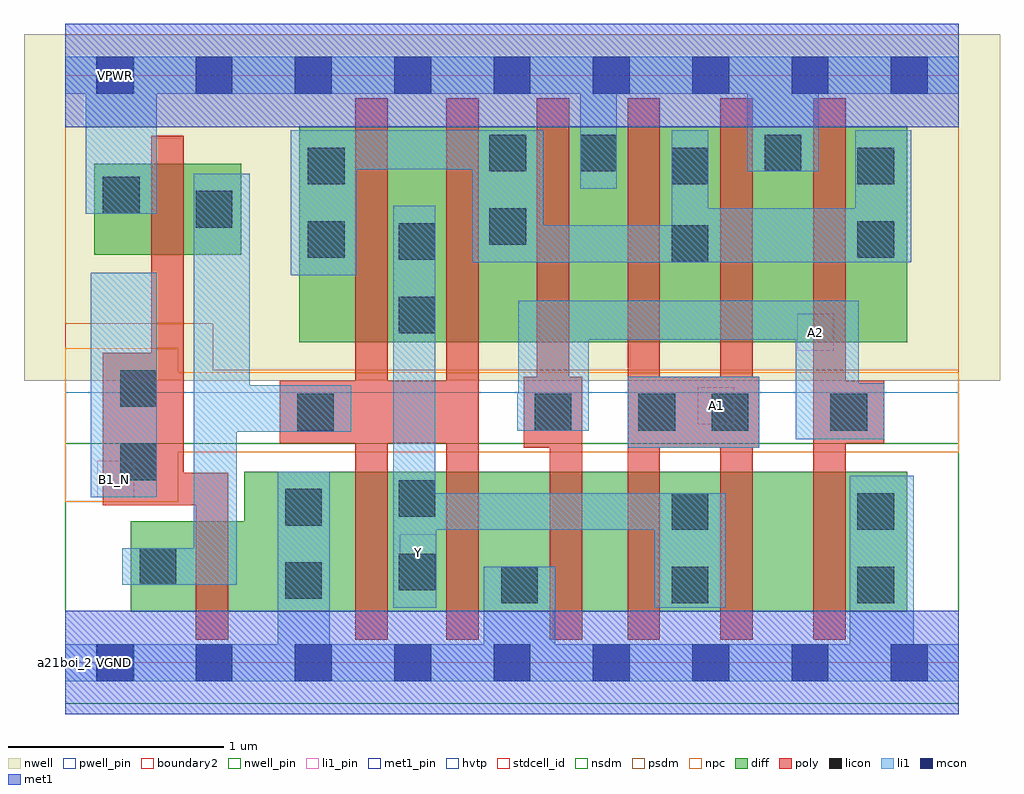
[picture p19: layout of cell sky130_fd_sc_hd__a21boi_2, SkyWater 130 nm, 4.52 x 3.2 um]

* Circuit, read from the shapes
.subckt sky130_fd_sc_hd__a21boi_2 A1 A2 B1_N VGND VNB VPB VPWR Y
XM1 VGND B1_N n1 VNB sky130_fd_pr__nfet_01v8 w=0.42 l=0.15
XM2 Y n1 VGND VNB sky130_fd_pr__nfet_01v8 w=0.65 l=0.15 m=2
XM3 n2 A2 VGND VNB sky130_fd_pr__nfet_01v8 w=0.65 l=0.15
XM4 Y A1 n2 VNB sky130_fd_pr__nfet_01v8 w=0.65 l=0.15
XM5 n3 A1 Y VNB sky130_fd_pr__nfet_01v8 w=0.65 l=0.15
XM6 VGND A2 n3 VNB sky130_fd_pr__nfet_01v8 w=0.65 l=0.15
XM7 n1 B1_N VPWR VPB sky130_fd_pr__pfet_01v8_hvt w=0.42 l=0.15
XM8 Y n1 n4 VPB sky130_fd_pr__pfet_01v8_hvt w=1 l=0.15 m=2
XM9 VPWR A2 n4 VPB sky130_fd_pr__pfet_01v8_hvt w=1 l=0.15 m=2
XM10 n4 A1 VPWR VPB sky130_fd_pr__pfet_01v8_hvt w=1 l=0.15 m=2
.ends

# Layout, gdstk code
import gdstk
lib = gdstk.Library(unit=1e-6, precision=1e-09)
def R(c, l, rs):  # rectangles x0, y0, x1, y1
    for r in rs: c.add(gdstk.rectangle(r[:2], r[2:], *l))
def A(c, l, x, y, w, h, nx, ny, dx, dy):  # array of equal rectangles
    R(c, l, [(x+i*dx, y+j*dy, x+i*dx+w, y+j*dy+h) for i in range(nx) for j in range(ny)])
def P(c, l, *ps):  # polygons
    for p in ps: c.add(gdstk.Polygon(p, *l))
nwell_pin = (64, 16)
nwell = (64, 20)
diff = (65, 20)
poly = (66, 20)
licon = (66, 44)
li1_pin = (67, 16)
li1 = (67, 20)
mcon = (67, 44)
met1_pin = (68, 16)
met1 = (68, 20)
hvtp = (78, 44)
stdcell_id = (81, 4)
nsdm = (93, 44)
psdm = (94, 20)
npc = (95, 20)
pwell_pin = (122, 16)
boundary2 = (236, 0)

sky130_fd_sc_hd__a21boi_ = lib.new_cell('sky130_fd_sc_hd__a21boi_2')
R(sky130_fd_sc_hd__a21boi_, nwell_pin, [(0.15,2.635,0.32,2.805)])
R(sky130_fd_sc_hd__a21boi_, nwell, [(-0.19,1.305,4.33,2.91)])
R(sky130_fd_sc_hd__a21boi_, diff, [(1.085,1.485,3.9,2.485), (0.135,1.89,0.815,2.31)])
P(sky130_fd_sc_hd__a21boi_, diff, [(3.9,0.885),(0.83,0.885),(0.83,0.655),(0.305,0.655),(0.305,0.235),(3.9,0.235)])
P(sky130_fd_sc_hd__a21boi_, poly, [(3.795,1.305),(3.615,1.305),(3.615,2.615),(3.465,2.615),(3.465,0.105),(3.615,0.105),(3.615,1.015),(3.795,1.015)],
  [(3.215,1.325),(3.185,1.325),(3.185,2.615),(3.035,2.615),(3.035,1.325),(2.755,1.325),(2.755,2.615),(2.605,2.615),(2.605,0.105),(2.755,0.105),(2.755,0.995),(3.035,0.995),(3.035,0.105),(3.185,0.105),(3.185,0.995),(3.215,0.995)],
  [(2.395,1.325),(2.335,1.325),(2.335,2.615),(2.185,2.615),(2.185,1.325),(2.125,1.325),(2.125,0.995),(2.245,0.995),(2.245,0.105),(2.395,0.105)],
  [(1.915,2.615),(1.765,2.615),(1.765,1.305),(1.495,1.305),(1.495,2.615),(1.345,2.615),(1.345,1.305),(0.995,1.305),(0.995,1.015),(1.345,1.015),(1.345,0.105),(1.495,0.105),(1.495,1.015),(1.765,1.015),(1.765,0.105),(1.915,0.105)],
  [(0.755,0.88),(0.55,0.88),(0.55,2.44),(0.4,2.44),(0.4,1.435),(0.175,1.435),(0.175,0.73),(0.605,0.73),(0.605,0.105),(0.755,0.105)])
R(sky130_fd_sc_hd__a21boi_, licon, [(2.02,0.275,2.19,0.445), (2.81,0.275,2.98,0.445), (3.67,0.275,3.84,0.445), (1.02,0.295,1.19,0.465), (1.545,0.335,1.715,0.505), (0.345,0.36,0.515,0.53), (2.81,0.615,2.98,0.785), (3.67,0.615,3.84,0.785), (1.02,0.635,1.19,0.805), (1.545,0.675,1.715,0.845), (0.255,0.845,0.425,1.015), (1.075,1.075,1.245,1.245), (2.175,1.075,2.345,1.245), (2.655,1.075,2.825,1.245), (2.995,1.075,3.165,1.245), (3.545,1.075,3.715,1.245), (0.255,1.185,0.425,1.355), (1.545,1.525,1.715,1.695), (2.81,1.855,2.98,2.025), (1.545,1.865,1.715,2.035), (1.125,1.875,1.295,2.045), (3.67,1.875,3.84,2.045), (1.965,1.935,2.135,2.105), (0.605,2.015,0.775,2.185), (0.175,2.08,0.345,2.25), (1.125,2.215,1.295,2.385), (2.81,2.215,2.98,2.385), (3.67,2.215,3.84,2.385), (1.965,2.275,2.135,2.445), (2.385,2.275,2.555,2.445), (3.24,2.275,3.41,2.445)])
R(sky130_fd_sc_hd__a21boi_, li1_pin, [(1.55,0.425,1.72,0.595), (0.15,0.765,0.32,0.935), (2.93,1.105,3.1,1.275), (3.39,1.445,3.56,1.615)])
R(sky130_fd_sc_hd__a21boi_, li1, [(0.12,0.765,0.425,1.805), (2.605,0.995,3.215,1.325)])
P(sky130_fd_sc_hd__a21boi_, li1, [(3.92,2.465),(3.66,2.465),(3.66,2.105),(2.98,2.105),(2.98,2.465),(2.81,2.465),(2.81,2.025),(2.215,2.025),(2.215,2.465),(1.045,2.465),(1.045,1.795),(1.35,1.795),(1.35,2.285),(1.885,2.285),(1.885,1.855),(3.92,1.855)],
  [(3.795,1.295),(3.675,1.295),(3.675,1.675),(2.1,1.675),(2.1,1.245),(2.095,1.245),(2.095,1.075),(2.425,1.075),(2.425,1.495),(3.385,1.495),(3.385,1.035),(3.795,1.035)],
  [(3.06,0.785),(1.715,0.785),(1.715,2.115),(1.52,2.115),(1.52,0.255),(1.72,0.255),(1.72,0.615),(2.73,0.615),(2.73,0.255),(3.06,0.255)],
  [(4.14,2.805),(0,2.805),(0,2.635),(0.095,2.635),(0.095,2.08),(0.425,2.08),(0.425,2.635),(2.385,2.635),(2.385,2.195),(2.555,2.195),(2.555,2.635),(3.16,2.635),(3.16,2.275),(3.49,2.275),(3.49,2.635),(4.14,2.635)],
  [(4.14,0.085),(3.93,0.085),(3.93,0.865),(3.635,0.865),(3.635,0.085),(2.27,0.085),(2.27,0.445),(1.94,0.445),(1.94,0.085),(1.225,0.085),(1.225,0.885),(0.985,0.885),(0.985,0.085),(0,0.085),(0,-0.085),(4.14,-0.085)],
  [(1.325,1.285),(0.855,1.285),(0.855,2.265),(0.595,2.265),(0.595,0.53),(0.265,0.53),(0.265,0.36),(0.795,0.36),(0.795,1.07),(1.325,1.07)])
A(sky130_fd_sc_hd__a21boi_, mcon, 0.145, -0.085, 0.17, 0.17, 9, 2, 0.46, 2.72)
R(sky130_fd_sc_hd__a21boi_, met1_pin, [(0.15,-0.085,0.32,0.085), (0.15,2.635,0.32,2.805)])
R(sky130_fd_sc_hd__a21boi_, hvtp, [(0,1.25,4.14,2.72)])
R(sky130_fd_sc_hd__a21boi_, stdcell_id, [(0,0,4.14,2.72)])
R(sky130_fd_sc_hd__a21boi_, nsdm, [(0,-0.19,4.14,1.015)])
P(sky130_fd_sc_hd__a21boi_, psdm, [(4.14,2.91),(0,2.91),(0,1.57),(0.685,1.57),(0.685,1.355),(4.14,1.355)])
P(sky130_fd_sc_hd__a21boi_, npc, [(4.14,1.345),(0.525,1.345),(0.525,1.455),(0,1.455),(0,0.745),(0.525,0.745),(0.525,0.975),(4.14,0.975)])
R(sky130_fd_sc_hd__a21boi_, pwell_pin, [(0.15,-0.085,0.32,0.085)])
R(sky130_fd_sc_hd__a21boi_, boundary2, [(0,0,4.14,2.72)])
sky130_fd_sc_hd__a21boi_.add(gdstk.FlexPath([(0,2.72),(4.14,2.72)], 0.48, ends="flush", simple_path=True, layer=68, datatype=20))  # met1
sky130_fd_sc_hd__a21boi_.add(gdstk.FlexPath([(0,0),(4.14,0)], 0.48, ends="flush", simple_path=True, layer=68, datatype=20))  # met1
sky130_fd_sc_hd__a21boi_.add(gdstk.Label('a21boi_2', (0,0), layer=83, texttype=44))
sky130_fd_sc_hd__a21boi_.add(gdstk.Label('Y', (1.635,0.51), layer=67, texttype=5))
sky130_fd_sc_hd__a21boi_.add(gdstk.Label('A1', (3.015,1.19), layer=67, texttype=5))
sky130_fd_sc_hd__a21boi_.add(gdstk.Label('A2', (3.475,1.53), layer=67, texttype=5))
sky130_fd_sc_hd__a21boi_.add(gdstk.Label('B1_N', (0.23,0.85), layer=67, texttype=5))
sky130_fd_sc_hd__a21boi_.add(gdstk.Label('VGND', (0.23,0), layer=68, texttype=5))
sky130_fd_sc_hd__a21boi_.add(gdstk.Label('VPWR', (0.235,2.72), layer=68, texttype=5))
sky130_fd_sc_hd__a21boi_.add(gdstk.Label('VPB', (0.235,2.72), layer=64, texttype=5))
sky130_fd_sc_hd__a21boi_.add(gdstk.Label('VNB', (0.235,0), layer=64, texttype=59))

lib.write_gds('sky130_fd_sc_hd__a21boi_2.gds')
